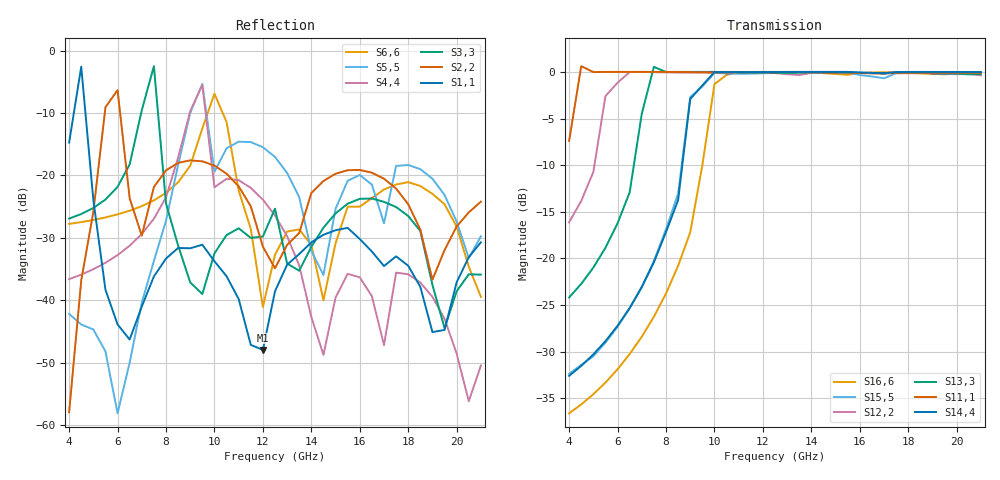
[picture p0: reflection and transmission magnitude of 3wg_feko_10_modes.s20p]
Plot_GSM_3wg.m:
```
%% 
F_cst = linspace(4e9, 21e9, 1001);
F = 4e9:0.5e9:21e9;

% data5_cst =read(rfdata.data,'3wg_V1.s39p'); % For my mac
data5_cst = read(rfdata.data,'/tudelft.net/staff-groups/ewi/me/MS3/Studenten/Tworit Dash/Feko_Files/feko/cst/3wg_V2_more_modes.s300p'); % For PC at TU
s_params_5_cst = extract(data5_cst,'S_PARAMETERS');


data5_feko = read(rfdata.data,'../Cascade/3wg_feko_10_modes.s20p');
s_params_5_feko = extract(data5_feko,'S_PARAMETERS');

%%
% 
% c_pp = load('../Cascade/Stt3_ratio_1_modes_20_1mm.mat');
% SPP = c_pp.STT;
% c_pr = load('../Cascade/Str3_ratio_1_modes_20_1mm.mat');
% SPR = c_pr.STR;
% c_rp = load('../Cascade/Srt3_ratio_1_modes_20_1mm.mat');
% SRP = c_rp.SRT;
% c_rr = load('../Cascade/Srr3_ratio_1_modes_20_1mm.mat');
% SRR = c_rr.SRR;

%%
c_pp = load('Stt3_ratio_1_modes_20_new_analyt.mat');
SPP = c_pp.Stt;
c_pr = load('Str3_ratio_1_modes_20_new_analyt.mat');
SPR = c_pr.Str;
c_rp = load('Srt3_ratio_1_modes_20_new_analyt.mat');
SRP = c_rp.Srt;
c_rr = load('Srr3_ratio_1_modes_20_new_analyt.mat');
SRR = c_rr.Srr;


%%

% c_pp = load('Stt3_ratio_1_modes_20_new.mat');
% SPP = c_pp.Stt;
% c_pr = load('Str3_ratio_1_modes_20_new.mat');
% SPR = c_pr.Str;
% c_rp = load('Srt3_ratio_1_modes_20_new.mat');
% SRP = c_rp.Srt;
% c_rr = load('Srr3_ratio_1_modes_20_new.mat');
% SRR = c_rr.Srr;
%% SPP 
figure;

plot(F * 1e-9, db(abs(squeeze(SPP(:, 1, 1)))), 'LineWidth', 2); grid on;
hold on;
plot(F_cst * 1e-9, db(abs(squeeze(s_params_5_cst(1,1, :)))), 'LineWidth', 2); grid on;
hold on;
plot(F * 1e-9, db(abs(squeeze(s_params_5_feko(11, 11, :)))), 'LineWidth', 2); grid on;

xlabel('Frequency (GHz)', 'FontSize', 12, 'FontWeight', 'bold');
ylabel('S in  dB', 'FontSize', 12, 'FontWeight', 'bold');
title(['S Parameter'], 'FontSize', 12, 'FontWeight', 'bold')

legend({'S_{TT} of TE_{11} MM', 'S_{TT} of TE_{11} CST',...
    'S_{TT} of TE_{11} FEKO'},...
    'FontSize', 12, 'FontWeight', 'bold');

xlim([5 21]);

figure;

plot(F * 1e-9, angle((squeeze(SPP(:, 1, 1)))) * 180/pi, 'LineWidth', 2); grid on;
hold on;
plot(F_cst * 1e-9, angle((squeeze(s_params_5_cst(1, 1, :)))) * 180/pi, 'LineWidth', 2); grid on;
hold on;
plot(F * 1e-9, angle((squeeze(s_params_5_feko(11, 11, :)))) * 180/pi, 'LineWidth', 2); grid on;

xlabel('Frequency (GHz)', 'FontSize', 12, 'FontWeight', 'bold');
ylabel('S parameter Phase in deg', 'FontSize', 12, 'FontWeight', 'bold');
title(['S parameter Phase'], 'FontSize', 12, 'FontWeight', 'bold')

legend({'S_{TT} of TE_{11} MM', 'S_{TT} of TE_{11} CST',...
    'S_{TT} of TE_{11} FEKO'},...
    'FontSize', 12, 'FontWeight', 'bold');

xlim([5 21]);

%% SPR 

figure;

plot(F * 1e-9, db(abs(squeeze(SPR(:, 1, 8)))), 'LineWidth', 2); grid on;
hold on;
plot(F_cst * 1e-9, db(abs(squeeze(s_params_5_cst(1,8, :)))), 'LineWidth', 2); grid on;
hold on;
plot(F * 1e-9, db(abs(squeeze(s_params_5_feko(1, 6, :)))), 'LineWidth', 2); grid on;

xlabel('Frequency (GHz)', 'FontSize', 12, 'FontWeight', 'bold');
ylabel('S in  dB', 'FontSize', 12, 'FontWeight', 'bold');
title(['S Parameter'], 'FontSize', 12, 'FontWeight', 'bold')

legend({'S_{TR} of TE_{11} MM', 'S_{TR} of TE_{11} CST',...
    'S_{TR} of TE_{11} FEKO'},...
    'FontSize', 12, 'FontWeight', 'bold');

xlim([5 21]);

figure;

plot(F * 1e-9, angle((squeeze(SPR(:, 1, 1)))) * 180/pi, '*', 'LineWidth', 1); grid on;
hold on;
plot(F_cst * 1e-9, angle((squeeze(s_params_5_cst(1, 151, :)))) * 180/pi, 'LineWidth', 2); grid on;
hold on;
plot(F * 1e-9, angle((squeeze(s_params_5_feko(1, 11, :)))) * 180/pi, 'LineWidth', 2); grid on;

xlabel('Frequency (GHz)', 'FontSize', 12, 'FontWeight', 'bold');
ylabel('S parameter Phase in deg', 'FontSize', 12, 'FontWeight', 'bold');
title(['S parameter Phase'], 'FontSize', 12, 'FontWeight', 'bold')

legend({'S_{TR} of TE_{11} MM', 'S_{TR} of TE_{11} CST',...
    'S_{TR} of TE_{11} FEKO'},...
    'FontSize', 12, 'FontWeight', 'bold');

xlim([5 21]);

%% SRP

figure;

plot(F * 1e-9, db(abs(squeeze(SRP(:, 1, 1)))), 'LineWidth', 2); grid on;
hold on;
plot(F_cst * 1e-9, db(abs(squeeze(s_params_5_cst(71,1, :)))), 'LineWidth', 2); grid on;
hold on;
plot(F * 1e-9, db(abs(squeeze(s_params_5_feko(6, 1, :)))), 'LineWidth', 2); grid on;

xlabel('Frequency (GHz)', 'FontSize', 12, 'FontWeight', 'bold');
ylabel('S in  dB', 'FontSize', 12, 'FontWeight', 'bold');
title(['S Parameter'], 'FontSize', 12, 'FontWeight', 'bold')

legend({'S_{RT} of TE_{11} MM', 'S_{RT} of TE_{11} CST',...
    'S_{RT} of TE_{11} FEKO'},...
    'FontSize', 12, 'FontWeight', 'bold');

xlim([5 21]);


figure;

plot(F * 1e-9, angle((squeeze(SRP(:, 1, 1)))) * 180/pi, '*', 'LineWidth', 1); grid on;
hold on;
plot(F_cst * 1e-9, angle((squeeze(s_params_5_cst(71, 1, :)))) * 180/pi, 'LineWidth', 2); grid on;
hold on;
plot(F * 1e-9, angle((squeeze(s_params_5_feko(6, 1, :)))) * 180/pi, 'LineWidth', 2); grid on;

xlabel('Frequency (GHz)', 'FontSize', 12, 'FontWeight', 'bold');
ylabel('S parameter Phase in deg', 'FontSize', 12, 'FontWeight', 'bold');
title(['S parameter Phase'], 'FontSize', 12, 'FontWeight', 'bold')

legend({'S_{RT} of TE_{11} MM', 'S_{RT} of TE_{11} CST',...
    'S_{RT} of TE_{11} FEKO'},...
    'FontSize', 12, 'FontWeight', 'bold');

xlim([5 21]);

%% SRR

figure;

plot(F * 1e-9, db(abs(squeeze(SRR(:, 1, 1)))), 'LineWidth', 2); grid on;
hold on;
plot(F_cst * 1e-9, db(abs(squeeze(s_params_5_cst(151, 151, :)))), 'LineWidth', 2); grid on;
hold on;
plot(F * 1e-9, db(abs(squeeze(s_params_5_feko(1, 1, :)))), 'LineWidth', 2); grid on;

xlabel('Frequency (GHz)', 'FontSize', 12, 'FontWeight', 'bold');
ylabel('S in  dB', 'FontSize', 12, 'FontWeight', 'bold');
title(['S Parameter'], 'FontSize', 12, 'FontWeight', 'bold')

legend({'S_{RR} of TE_{11} MM', 'S_{RR} of TE_{11} CST',...
    'S_{RR} of TE_{11} FEKO'},...
    'FontSize', 12, 'FontWeight', 'bold');

xlim([5 21]);


figure;

plot(F * 1e-9, angle((squeeze(SRR(:, 1, 1)))) * 180/pi, 'LineWidth', 2); grid on;
hold on;
plot(F_cst * 1e-9, angle((squeeze(s_params_5_cst(71, 71, :)))) * 180/pi, 'LineWidth', 2); grid on;
hold on;
plot(F * 1e-9, angle((squeeze(s_params_5_feko(6, 6, :)))) * 180/pi, 'LineWidth', 2); grid on;

xlabel('Frequency (GHz)', 'FontSize', 12, 'FontWeight', 'bold');
ylabel('S parameter Phase in deg', 'FontSize', 12, 'FontWeight', 'bold');
title(['S parameter Phase'], 'FontSize', 12, 'FontWeight', 'bold')

legend({'S_{RR} of TE_{11} MM', 'S_{RR} of TE_{11} CST',...
    'S_{RR} of TE_{11} FEKO'},...
    'FontSize', 12, 'FontWeight', 'bold');

xlim([5 21]);
```
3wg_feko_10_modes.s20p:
! S-parameter export from POSTFEKO
! Filename: circular_3wg_5modes
! Creation date: 2020-02-27 14:06:16
# Hz S MA R  5.0000000E+01
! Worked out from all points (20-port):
!   35 points, 4 GHz to 21 GHz, reference 50 ohm
!   strongest paths, dB at 4 GHz, 8 GHz, 12.5 GHz, 17 GHz, 21 GHz:
!     S14,4: -32.6, -17.2, 0.0, -0.2, 0.0
!     S11,1: -7.4, 0.0, 0.0, -0.2, -0.1
!     S13,3: -24.2, 0.0, -0.1, -0.1, -0.2
!     S12,2: -16.1, -0.1, -0.1, -0.1, -0.4
!     S15,5: -32.4, -16.9, -0.1, -0.7, -0.1
!     S16,6: -36.6, -23.8, 0.0, 0.0, -0.1
!   lowest |S11| = -48.0 dB at 12 GHz (marker M1), VSWR 1.01, Z = 50 + j0.399 ohm
!   |S11| at or under -10 dB: start of sweep to 4.195 GHz; 4.674 GHz to end of sweep
